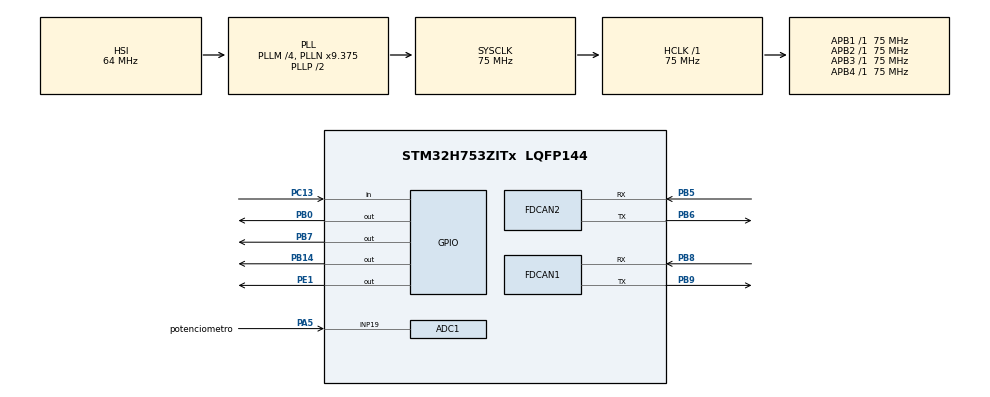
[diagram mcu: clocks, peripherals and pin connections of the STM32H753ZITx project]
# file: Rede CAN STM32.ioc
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ADC1.Channel-1\#ChannelRegularConversion=ADC_CHANNEL_19
ADC1.ClockPrescaler=ADC_CLOCK_ASYNC_DIV6
ADC1.ContinuousConvMode=DISABLE
ADC1.NbrOfConversionFlag=1
ADC1.OffsetNumber-1\#ChannelRegularConversion=ADC_OFFSET_NONE
ADC1.OffsetSignedSaturation-1\#ChannelRegularConversion=DISABLE
ADC1.Rank-1\#ChannelRegularConversion=1
ADC1.Resolution=ADC_RESOLUTION_12B
ADC1.SamplingTime-1\#ChannelRegularConversion=ADC_SAMPLETIME_1CYCLE_5
ADC1.master=1
CORTEX_M7.CPU_DCache=Disabled
CORTEX_M7.CPU_ICache=Disabled
CORTEX_M7.MPU_Control=__NULL
CORTEX_M7.default_mode_Activation=1
FDCAN1.CalculateBaudRateNominal=1041666
FDCAN1.CalculateTimeBitNominal=960
FDCAN1.CalculateTimeQuantumNominal=320.0
FDCAN2.AutoRetransmission=ENABLE
FDCAN2.CalculateBaudRateNominal=500000
FDCAN2.CalculateTimeBitNominal=2000
FDCAN2.CalculateTimeQuantumNominal=400.0
FDCAN2.NominalPrescaler=20
FDCAN2.NominalTimeSeg1=2
FDCAN2.NominalTimeSeg2=2
FDCAN2.TxFifoQueueElmtsNbr=8
Mcu.Family=STM32H7
Mcu.Name=STM32H753ZITx
Mcu.Package=LQFP144
NUCLEO-H753ZI.BUTTON=1
NUCLEO-H753ZI.LD1=true
NUCLEO-H753ZI.LD2=true
NUCLEO-H753ZI.LD3=true
NUCLEO-H753ZI.VCP=true
NVIC.EXTI15_10_IRQn=true\:0\:0\:false\:false\:true\:false\:true\:true
NVIC.PriorityGroup=NVIC_PRIORITYGROUP_4
PA5.GPIO_Label=potenciometro
PA5.Signal=ADCx_INP19
PB0.Signal=GPIO_Output
PB14.Signal=GPIO_Output
PB5.Mode=FDCAN_Activate
PB5.Signal=FDCAN2_RX
PB6.Mode=FDCAN_Activate
PB6.Signal=FDCAN2_TX
PB7.Signal=GPIO_Output
PB8.Mode=FDCAN_Activate
PB8.Signal=FDCAN1_RX
PB9.Mode=FDCAN_Activate
PB9.Signal=FDCAN1_TX
PC13.Signal=GPIO_Input
PC14-OSC32_IN\ (OSC32_IN).Signal=RCC_OSC32_IN
PC15-OSC32_OUT\ (OSC32_OUT).Signal=RCC_OSC32_OUT
PD8.Signal=USART3_TX
PD9.Signal=USART3_RX
PE1.Signal=GPIO_Output
PH0-OSC_IN\ (PH0).Mode=HSE-External-Oscillator
PH0-OSC_IN\ (PH0).Signal=RCC_OSC_IN
PH1-OSC_OUT\ (PH1).Mode=HSE-External-Oscillator
PH1-OSC_OUT\ (PH1).Signal=RCC_OSC_OUT
ProjectManager.HeapSize=0x200
ProjectManager.StackSize=0x400
ProjectManager.TargetToolchain=STM32CubeIDE
RCC.ADCCLockSelection=RCC_ADCCLKSOURCE_CLKP
RCC.ADCFreq_Value=64000000
RCC.APB1Freq_Value=75000000
RCC.APB2Freq_Value=75000000
RCC.APB3Freq_Value=75000000
RCC.APB4Freq_Value=75000000
RCC.CortexFreq_Value=75000000
RCC.DIVM1=4
RCC.DIVN1=9
RCC.DIVN2=125
RCC.DIVN3=125
RCC.DIVQ1=3
RCC.HCLKFreq_Value=75000000
RCC.HSE_VALUE=25000000
RCC.PLL2FRACN=0
RCC.PLL3FRACN=0
RCC.PLLFRACN=3072
RCC.PREFETCH_ENABLE=1
RCC.SYSCLKFreq_VALUE=75000000
RCC.SYSCLKSource=RCC_SYSCLKSOURCE_PLLCLK
RCC.USBFreq_Value=50000000
SH.ADCx_INP19.0=ADC1_INP19,IN19-Single-Ended
VP_MEMORYMAP_VS_MEMORYMAP.Mode=CurAppReg
VP_NUCLEO-H753ZI_VS_BSP_COMMON.Mode=COMMON
board=NUCLEO-H753ZI

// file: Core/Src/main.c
/* USER CODE BEGIN Header */
/**
  ******************************************************************************
  * @file           : main.c
  * @brief          : Main program body
  ******************************************************************************
  * @attention
  *
  * Copyright (c) 2025 STMicroelectronics.
  * All rights reserved.
  *
  * This software is licensed under terms that can be found in the LICENSE file
  * in the root directory of this software component.
  * If no LICENSE file comes with this software, it is provided AS-IS.
  *
  ******************************************************************************
  */
/* USER CODE END Header */
#include "main.h"

COM_InitTypeDef BspCOMInit;
ADC_HandleTypeDef hadc1;

FDCAN_HandleTypeDef hfdcan1;
FDCAN_HandleTypeDef hfdcan2;

void SystemClock_Config(void);
void PeriphCommonClock_Config(void);
static void MX_GPIO_Init(void);
static void MX_ADC1_Init(void);
static void MX_FDCAN1_Init(void);
static void MX_FDCAN2_Init(void);

/* USER CODE BEGIN 0 */
uint16_t readValue;
uint16_t potenciometro;
FDCAN_TxHeaderTypeDef TxHeader;
FDCAN_TxHeaderTypeDef TxHeaderGeneral;
FDCAN_TxHeaderTypeDef TxHeaderDIFF;
uint32_t TxMailbox;
uint8_t TxData[8] = {};
float porc = 0.0;
int testinho = 1;
int teste = 1;
/* USER CODE END 0 */

int main(void)
{

  /* MCU Configuration--------------------------------------------------------*/

  /* Reset of all peripherals, Initializes the Flash interface and the Systick. */
  HAL_Init();

  /* Configure the system clock */
  SystemClock_Config();

  /* Configure the peripherals common clocks */
  PeriphCommonClock_Config();

  /* Initialize all configured peripherals */
  MX_GPIO_Init();
  MX_ADC1_Init();
  MX_FDCAN1_Init();
  MX_FDCAN2_Init();
  /* USER CODE BEGIN 2 */
    TxHeader.Identifier = 0x123;                    // ID padrão
	TxHeader.IdType = FDCAN_STANDARD_ID;
	TxHeader.TxFrameType = FDCAN_DATA_FRAME;
	TxHeader.DataLength = FDCAN_DLC_BYTES_8;
	TxHeader.ErrorStateIndicator = FDCAN_ESI_ACTIVE;
	TxHeader.BitRateSwitch = FDCAN_BRS_OFF;
	TxHeader.FDFormat = FDCAN_CLASSIC_CAN;
	TxHeader.TxEventFifoControl = FDCAN_NO_TX_EVENTS;
	TxHeader.MessageMarker = 0;
  HAL_ADC_Start(&hadc1);
  HAL_FDCAN_Start(&hfdcan2);

//  void General_CAN_send (FDCAN_HandleTypeDef *hfdcan, FDCAN_TxHeaderTypeDef *TxHeader,uint16_t){
//
//
//  }
  /* USER CODE END 2 */

  /* Initialize leds */
  BSP_LED_Init(LED_GREEN);
  BSP_LED_Init(LED_BLUE);
  BSP_LED_Init(LED_RED);

  /* Initialize USER push-button, will be used to trigger an interrupt each time it's pressed.*/
  BSP_PB_Init(BUTTON_USER, BUTTON_MODE_EXTI);

  /* Initialize COM1 port (115200, 8 bits (7-bit data + 1 stop bit), no parity */
  BspCOMInit.BaudRate   = 115200;
  BspCOMInit.WordLength = COM_WORDLENGTH_8B;
  BspCOMInit.StopBits   = COM_STOPBITS_1;
  BspCOMInit.Parity     = COM_PARITY_NONE;
  BspCOMInit.HwFlowCtl  = COM_HWCONTROL_NONE;
  if (BSP_COM_Init(COM1, &BspCOMInit) != BSP_ERROR_NONE)
  {
    Error_Handler();
  }

  /* Infinite loop */
  /* USER CODE BEGIN WHILE */
  while (1)
   {
	HAL_ADC_Start(&hadc1);
	HAL_ADC_PollForConversion(&hadc1, HAL_MAX_DELAY);
	potenciometro = HAL_ADC_GetValue(&hadc1);
	porc = (potenciometro*100)/4095.0f;
	TxData[0] = (int)porc;

//	HAL_FDCAN_AddMessageToTxFifoQ(&hfdcan1, &TxHeader, TxData);

	if (HAL_FDCAN_AddMessageToTxFifoQ(&hfdcan2, &TxHeader, TxData) == HAL_OK)
	{
//	    uint32_t startTick = HAL_GetTick();
//	    teste = 2;
//	    while (HAL_FDCAN_GetTxFifoFreeLevel(&hfdcan1) != 8) // 8 = fila vazia (tamanho configurado)
//	    {
//	        if (HAL_GetTick() - startTick > 100) {
//	            printf("Timeout esperando envio CAN\n");
//
//	            break;
//	        }
//	    }
//	    testinho = 2;
//	    printf("Mensagem CAN enviada!\n");
		HAL_GPIO_TogglePin(GPIOB, GPIO_PIN_14); // Red LED
	}
	else
	{
	    printf("Erro ao adicionar mensagem à fila CAN\n");
	    testinho = 4;
	}

	HAL_GPIO_TogglePin(GPIOB, GPIO_PIN_0); // Green LED
//				 HAL_Delay(1);
//			 }
//			 else{
//							HAL_FDCAN_DeInit(hfdcan);		// Disable CAN
//							HAL_Delay(5);					// Waits 5 ms
//							HAL_FDCAN_Init(hfdcan);		    // Enable CAN
//							HAL_FDCAN_Start(hfdcan);		// Start CAN
//			 }

     //readValue = HAL_ADC_GetValue(&hadc1);
     //General_CAN_send (&hfdcan1,&TxHeaderGeneral,TxData[7]);
     HAL_Delay(100);

    /* USER CODE END WHILE */

  }
}

void SystemClock_Config(void)
{
  RCC_OscInitTypeDef RCC_OscInitStruct = {0};
  RCC_ClkInitTypeDef RCC_ClkInitStruct = {0};

  /** Supply configuration update enable
  */
  HAL_PWREx_ConfigSupply(PWR_LDO_SUPPLY);

  /** Configure the main internal regulator output voltage
  */
  __HAL_PWR_VOLTAGESCALING_CONFIG(PWR_REGULATOR_VOLTAGE_SCALE3);

  while(!__HAL_PWR_GET_FLAG(PWR_FLAG_VOSRDY)) {}

  /** Initializes the RCC Oscillators according to the specified parameters
  * in the RCC_OscInitTypeDef structure.
  */
  RCC_OscInitStruct.OscillatorType = RCC_OSCILLATORTYPE_HSI;
  RCC_OscInitStruct.HSIState = RCC_HSI_DIV1;
  RCC_OscInitStruct.HSICalibrationValue = RCC_HSICALIBRATION_DEFAULT;
  RCC_OscInitStruct.PLL.PLLState = RCC_PLL_ON;
  RCC_OscInitStruct.PLL.PLLSource = RCC_PLLSOURCE_HSI;
  RCC_OscInitStruct.PLL.PLLM = 4;
  RCC_OscInitStruct.PLL.PLLN = 9;
  RCC_OscInitStruct.PLL.PLLP = 2;
  RCC_OscInitStruct.PLL.PLLQ = 3;
  RCC_OscInitStruct.PLL.PLLR = 2;
  RCC_OscInitStruct.PLL.PLLRGE = RCC_PLL1VCIRANGE_3;
  RCC_OscInitStruct.PLL.PLLVCOSEL = RCC_PLL1VCOMEDIUM;
  RCC_OscInitStruct.PLL.PLLFRACN = 3072;
  if (HAL_RCC_OscConfig(&RCC_OscInitStruct) != HAL_OK)
  {
    Error_Handler();
  }

  /** Initializes the CPU, AHB and APB buses clocks
  */
  RCC_ClkInitStruct.ClockType = RCC_CLOCKTYPE_HCLK|RCC_CLOCKTYPE_SYSCLK
                              |RCC_CLOCKTYPE_PCLK1|RCC_CLOCKTYPE_PCLK2
                              |RCC_CLOCKTYPE_D3PCLK1|RCC_CLOCKTYPE_D1PCLK1;
  RCC_ClkInitStruct.SYSCLKSource = RCC_SYSCLKSOURCE_PLLCLK;
  RCC_ClkInitStruct.SYSCLKDivider = RCC_SYSCLK_DIV1;
  RCC_ClkInitStruct.AHBCLKDivider = RCC_HCLK_DIV1;
  RCC_ClkInitStruct.APB3CLKDivider = RCC_APB3_DIV1;
  RCC_ClkInitStruct.APB1CLKDivider = RCC_APB1_DIV1;
  RCC_ClkInitStruct.APB2CLKDivider = RCC_APB2_DIV1;
  RCC_ClkInitStruct.APB4CLKDivider = RCC_APB4_DIV1;

  if (HAL_RCC_ClockConfig(&RCC_ClkInitStruct, FLASH_LATENCY_1) != HAL_OK)
  {
    Error_Handler();
  }
}

void PeriphCommonClock_Config(void)
{
  RCC_PeriphCLKInitTypeDef PeriphClkInitStruct = {0};

  /** Initializes the peripherals clock
  */
  PeriphClkInitStruct.PeriphClockSelection = RCC_PERIPHCLK_CKPER;
  PeriphClkInitStruct.CkperClockSelection = RCC_CLKPSOURCE_HSI;
  if (HAL_RCCEx_PeriphCLKConfig(&PeriphClkInitStruct) != HAL_OK)
  {
    Error_Handler();
  }
}

static void MX_ADC1_Init(void)
{

  ADC_MultiModeTypeDef multimode = {0};
  ADC_ChannelConfTypeDef sConfig = {0};

  /** Common config
  */
  hadc1.Instance = ADC1;
  hadc1.Init.ClockPrescaler = ADC_CLOCK_ASYNC_DIV6;
  hadc1.Init.Resolution = ADC_RESOLUTION_12B;
  hadc1.Init.ScanConvMode = ADC_SCAN_DISABLE;
  hadc1.Init.EOCSelection = ADC_EOC_SINGLE_CONV;
  hadc1.Init.LowPowerAutoWait = DISABLE;
  hadc1.Init.ContinuousConvMode = DISABLE;
  hadc1.Init.NbrOfConversion = 1;
  hadc1.Init.DiscontinuousConvMode = DISABLE;
  hadc1.Init.ExternalTrigConv = ADC_SOFTWARE_START;
  hadc1.Init.ExternalTrigConvEdge = ADC_EXTERNALTRIGCONVEDGE_NONE;
  hadc1.Init.ConversionDataManagement = ADC_CONVERSIONDATA_DR;
  hadc1.Init.Overrun = ADC_OVR_DATA_PRESERVED;
  hadc1.Init.LeftBitShift = ADC_LEFTBITSHIFT_NONE;
  hadc1.Init.OversamplingMode = DISABLE;
  hadc1.Init.Oversampling.Ratio = 1;
  if (HAL_ADC_Init(&hadc1) != HAL_OK)
  {
    Error_Handler();
  }

  /** Configure the ADC multi-mode
  */
  multimode.Mode = ADC_MODE_INDEPENDENT;
  if (HAL_ADCEx_MultiModeConfigChannel(&hadc1, &multimode) != HAL_OK)
  {
    Error_Handler();
  }

  /** Configure Regular Channel
  */
  sConfig.Channel = ADC_CHANNEL_19;
  sConfig.Rank = ADC_REGULAR_RANK_1;
  sConfig.SamplingTime = ADC_SAMPLETIME_1CYCLE_5;
  sConfig.SingleDiff = ADC_SINGLE_ENDED;
  sConfig.OffsetNumber = ADC_OFFSET_NONE;
  sConfig.Offset = 0;
  sConfig.OffsetSignedSaturation = DISABLE;
  if (HAL_ADC_ConfigChannel(&hadc1, &sConfig) != HAL_OK)
  {
    Error_Handler();
  }

}

static void MX_FDCAN1_Init(void)
{

  hfdcan1.Instance = FDCAN1;
  hfdcan1.Init.FrameFormat = FDCAN_FRAME_CLASSIC;
  hfdcan1.Init.Mode = FDCAN_MODE_NORMAL;
  hfdcan1.Init.AutoRetransmission = DISABLE;
  hfdcan1.Init.TransmitPause = DISABLE;
  hfdcan1.Init.ProtocolException = DISABLE;
  hfdcan1.Init.NominalPrescaler = 16;
  hfdcan1.Init.NominalSyncJumpWidth = 1;
  hfdcan1.Init.NominalTimeSeg1 = 1;
  hfdcan1.Init.NominalTimeSeg2 = 1;
  hfdcan1.Init.DataPrescaler = 1;
  hfdcan1.Init.DataSyncJumpWidth = 1;
  hfdcan1.Init.DataTimeSeg1 = 1;
  hfdcan1.Init.DataTimeSeg2 = 1;
  hfdcan1.Init.MessageRAMOffset = 0;
  hfdcan1.Init.StdFiltersNbr = 0;
  hfdcan1.Init.ExtFiltersNbr = 0;
  hfdcan1.Init.RxFifo0ElmtsNbr = 0;
  hfdcan1.Init.RxFifo0ElmtSize = FDCAN_DATA_BYTES_8;
  hfdcan1.Init.RxFifo1ElmtsNbr = 0;
  hfdcan1.Init.RxFifo1ElmtSize = FDCAN_DATA_BYTES_8;
  hfdcan1.Init.RxBuffersNbr = 0;
  hfdcan1.Init.RxBufferSize = FDCAN_DATA_BYTES_8;
  hfdcan1.Init.TxEventsNbr = 0;
  hfdcan1.Init.TxBuffersNbr = 0;
  hfdcan1.Init.TxFifoQueueElmtsNbr = 0;
  hfdcan1.Init.TxFifoQueueMode = FDCAN_TX_FIFO_OPERATION;
  hfdcan1.Init.TxElmtSize = FDCAN_DATA_BYTES_8;
  if (HAL_FDCAN_Init(&hfdcan1) != HAL_OK)
  {
    Error_Handler();
  }

}

static void MX_FDCAN2_Init(void)
{

  hfdcan2.Instance = FDCAN2;
  hfdcan2.Init.FrameFormat = FDCAN_FRAME_CLASSIC;
  hfdcan2.Init.Mode = FDCAN_MODE_NORMAL;
  hfdcan2.Init.AutoRetransmission = ENABLE;
  hfdcan2.Init.TransmitPause = DISABLE;
  hfdcan2.Init.ProtocolException = DISABLE;
  hfdcan2.Init.NominalPrescaler = 20;
  hfdcan2.Init.NominalSyncJumpWidth = 1;
  hfdcan2.Init.NominalTimeSeg1 = 2;
  hfdcan2.Init.NominalTimeSeg2 = 2;
  hfdcan2.Init.DataPrescaler = 1;
  hfdcan2.Init.DataSyncJumpWidth = 1;
  hfdcan2.Init.DataTimeSeg1 = 1;
  hfdcan2.Init.DataTimeSeg2 = 1;
  hfdcan2.Init.MessageRAMOffset = 0;
  hfdcan2.Init.StdFiltersNbr = 0;
  hfdcan2.Init.ExtFiltersNbr = 0;
  hfdcan2.Init.RxFifo0ElmtsNbr = 0;
  hfdcan2.Init.RxFifo0ElmtSize = FDCAN_DATA_BYTES_8;
  hfdcan2.Init.RxFifo1ElmtsNbr = 0;
  hfdcan2.Init.RxFifo1ElmtSize = FDCAN_DATA_BYTES_8;
  hfdcan2.Init.RxBuffersNbr = 0;
  hfdcan2.Init.RxBufferSize = FDCAN_DATA_BYTES_8;
  hfdcan2.Init.TxEventsNbr = 0;
  hfdcan2.Init.TxBuffersNbr = 0;
  hfdcan2.Init.TxFifoQueueElmtsNbr = 8;
  hfdcan2.Init.TxFifoQueueMode = FDCAN_TX_FIFO_OPERATION;
  hfdcan2.Init.TxElmtSize = FDCAN_DATA_BYTES_8;
  if (HAL_FDCAN_Init(&hfdcan2) != HAL_OK)
  {
    Error_Handler();
  }

}

static void MX_GPIO_Init(void)
{
  GPIO_InitTypeDef GPIO_InitStruct = {0};

  /* GPIO Ports Clock Enable */
  __HAL_RCC_GPIOC_CLK_ENABLE();
  __HAL_RCC_GPIOH_CLK_ENABLE();
  __HAL_RCC_GPIOA_CLK_ENABLE();
  __HAL_RCC_GPIOB_CLK_ENABLE();
  __HAL_RCC_GPIOE_CLK_ENABLE();

  /*Configure GPIO pin Output Level */
  HAL_GPIO_WritePin(GPIOE, GPIO_PIN_1, GPIO_PIN_RESET);

  /*Configure GPIO pin : PE1 */
  GPIO_InitStruct.Pin = GPIO_PIN_1;
  GPIO_InitStruct.Mode = GPIO_MODE_OUTPUT_PP;
  GPIO_InitStruct.Pull = GPIO_NOPULL;
  GPIO_InitStruct.Speed = GPIO_SPEED_FREQ_LOW;
  HAL_GPIO_Init(GPIOE, &GPIO_InitStruct);

}

/* USER CODE BEGIN 4 */
void HAL_FDCAN_TxBufferCompleteCallback(FDCAN_HandleTypeDef *hfdcan, uint32_t BufferIndexes)
{
    if (hfdcan->Instance == FDCAN1)
    {
        printf("Mensagem CAN transmitida com sucesso (callback)\n");
        BSP_LED_Toggle(LED_GREEN); // só pra visualizar
    }
}

/* USER CODE END 4 */

void Error_Handler(void)
{
  __disable_irq();
  while (1)
  {
  }
}
